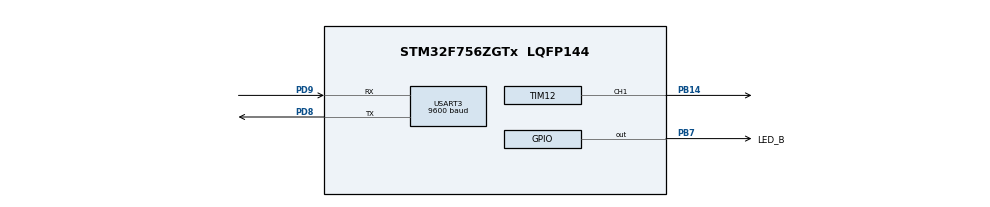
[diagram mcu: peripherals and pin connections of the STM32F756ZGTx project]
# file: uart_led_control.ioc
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Mcu.Family=STM32F7
Mcu.Name=STM32F756ZGTx
Mcu.Package=LQFP144
NVIC.PriorityGroup=NVIC_PRIORITYGROUP_4
NVIC.TIM3_IRQn=true\:0\:0\:false\:false\:true\:true\:true\:true
PB14.Signal=S_TIM12_CH1
PB7.GPIO_Label=LED_B
PB7.Signal=GPIO_Output
PD8.Mode=Asynchronous
PD8.Signal=USART3_TX
PD9.Mode=Asynchronous
PD9.Signal=USART3_RX
ProjectManager.HeapSize=0x200
ProjectManager.StackSize=0x400
ProjectManager.TargetToolchain=STM32CubeIDE
RCC.HSE_VALUE=25000000
RCC.HSI_VALUE=16000000
RCC.LSE_VALUE=32768
RCC.USBFreq_Value=96000000
RCC.VCOOutputFreq_Value=192000000
SH.S_TIM12_CH1.0=TIM12_CH1,PWM Generation1 CH1
TIM12.Channel-PWM\ Generation1\ CH1=TIM_CHANNEL_1
TIM12.Period=100
TIM12.Prescaler=10
TIM12.Pulse-PWM\ Generation1\ CH1=5
TIM3.Period=1000-1
TIM3.Prescaler=16000-1
USART3.BaudRate=9600
USART3.VirtualMode-Asynchronous=VM_ASYNC
VP_TIM12_VS_ClockSourceINT.Mode=Internal
VP_TIM3_VS_ClockSourceINT.Mode=Internal
board=custom

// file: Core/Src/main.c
/* USER CODE BEGIN Header */
/**
  ******************************************************************************
  * @file           : main.c
  * @brief          : Main program body
  ******************************************************************************
  * @attention
  *
  * Copyright (c) 2023 STMicroelectronics.
  * All rights reserved.
  *
  * This software is licensed under terms that can be found in the LICENSE file
  * in the root directory of this software component.
  * If no LICENSE file comes with this software, it is provided AS-IS.
  *
  ******************************************************************************
  */
/* USER CODE END Header */
#include "main.h"

TIM_HandleTypeDef htim3;
TIM_HandleTypeDef htim12;

UART_HandleTypeDef huart3;

void SystemClock_Config(void);
static void MX_GPIO_Init(void);
static void MX_TIM3_Init(void);
static void MX_USART3_UART_Init(void);
static void MX_TIM12_Init(void);
/* USER CODE BEGIN PFP */
void HAL_TIM_PeriodElapsedCallback(TIM_HandleTypeDef *htim)
{
  //ISR
	HAL_GPIO_TogglePin(LED_B_GPIO_Port, LED_B_Pin);
}
/* USER CODE END PFP */

int main(void)
{
  /* USER CODE BEGIN 1 */
	uint8_t menu[4][10]={
							"ON: O\n\r",
							"OFF: X\n\r",
							"20%: 2\n\r",
							"70%: 7\n\r"
						};
	uint8_t c=0;
  /* USER CODE END 1 */

  /* MCU Configuration--------------------------------------------------------*/

  /* Reset of all peripherals, Initializes the Flash interface and the Systick. */
  HAL_Init();

  /* Configure the system clock */
  SystemClock_Config();

  /* Initialize all configured peripherals */
  MX_GPIO_Init();
  MX_TIM3_Init();
  MX_USART3_UART_Init();
  MX_TIM12_Init();
  /* USER CODE BEGIN 2 */

  HAL_UART_Transmit(&huart3, menu, sizeof(menu), 100);
 // HAL_TIM_PWM_Start(&htim12, TIM_CHANNEL_1);
  /* USER CODE END 2 */

  /* Infinite loop */
  /* USER CODE BEGIN WHILE */
  while (1)
  {
	  if(HAL_UART_Receive(&huart3, &c, 1, 10)==HAL_OK)
	  {
		  switch (c) {
			case 'O':
				//ENABLE LED BLINKING - NO PWM
				HAL_TIM_PWM_Stop(&htim12, TIM_CHANNEL_1);
				HAL_TIM_Base_Start_IT(&htim3);
				break;
			case 'X':
				//DISABLE LED BLINKING - NO PWM - LEDS OFF
				HAL_TIM_PWM_Stop(&htim12, TIM_CHANNEL_1);
				HAL_TIM_Base_Stop_IT(&htim3);
				HAL_GPIO_WritePin(LED_B_GPIO_Port, LED_B_Pin, 0); //off
				break;
			case '2':
				//SET 20% duty cycle PWM - NO BLINKING
				HAL_TIM_Base_Stop_IT(&htim3);
				HAL_TIM_PWM_Start(&htim12, TIM_CHANNEL_1);
				__HAL_TIM_SET_COMPARE(&htim12, TIM_CHANNEL_1, 20);
				break;
			case '7':
				//SET 70% duty cycle PWM - NO BLINKING
				HAL_TIM_Base_Stop_IT(&htim3);
				HAL_TIM_PWM_Start(&htim12, TIM_CHANNEL_1);
				__HAL_TIM_SET_COMPARE(&htim12, TIM_CHANNEL_1, 70);
				break;
			default:
				break;
		}
		  HAL_UART_Transmit(&huart3, &c, 1, 10);
	  }
	  //HAL_GPIO_TogglePin(LED_B_GPIO_Port, LED_B_Pin);
	  //HAL_Delay(1000);
    /* USER CODE END WHILE */

  }
}

void SystemClock_Config(void)
{
  RCC_OscInitTypeDef RCC_OscInitStruct = {0};
  RCC_ClkInitTypeDef RCC_ClkInitStruct = {0};

  /** Configure the main internal regulator output voltage
  */
  __HAL_RCC_PWR_CLK_ENABLE();
  __HAL_PWR_VOLTAGESCALING_CONFIG(PWR_REGULATOR_VOLTAGE_SCALE3);

  /** Initializes the RCC Oscillators according to the specified parameters
  * in the RCC_OscInitTypeDef structure.
  */
  RCC_OscInitStruct.OscillatorType = RCC_OSCILLATORTYPE_HSI;
  RCC_OscInitStruct.HSIState = RCC_HSI_ON;
  RCC_OscInitStruct.HSICalibrationValue = RCC_HSICALIBRATION_DEFAULT;
  RCC_OscInitStruct.PLL.PLLState = RCC_PLL_NONE;
  if (HAL_RCC_OscConfig(&RCC_OscInitStruct) != HAL_OK)
  {
    Error_Handler();
  }

  /** Initializes the CPU, AHB and APB buses clocks
  */
  RCC_ClkInitStruct.ClockType = RCC_CLOCKTYPE_HCLK|RCC_CLOCKTYPE_SYSCLK
                              |RCC_CLOCKTYPE_PCLK1|RCC_CLOCKTYPE_PCLK2;
  RCC_ClkInitStruct.SYSCLKSource = RCC_SYSCLKSOURCE_HSI;
  RCC_ClkInitStruct.AHBCLKDivider = RCC_SYSCLK_DIV1;
  RCC_ClkInitStruct.APB1CLKDivider = RCC_HCLK_DIV1;
  RCC_ClkInitStruct.APB2CLKDivider = RCC_HCLK_DIV1;

  if (HAL_RCC_ClockConfig(&RCC_ClkInitStruct, FLASH_LATENCY_0) != HAL_OK)
  {
    Error_Handler();
  }
}

static void MX_TIM3_Init(void)
{

  TIM_ClockConfigTypeDef sClockSourceConfig = {0};
  TIM_MasterConfigTypeDef sMasterConfig = {0};

  htim3.Instance = TIM3;
  htim3.Init.Prescaler = 16000-1;
  htim3.Init.CounterMode = TIM_COUNTERMODE_UP;
  htim3.Init.Period = 1000-1;
  htim3.Init.ClockDivision = TIM_CLOCKDIVISION_DIV1;
  htim3.Init.AutoReloadPreload = TIM_AUTORELOAD_PRELOAD_DISABLE;
  if (HAL_TIM_Base_Init(&htim3) != HAL_OK)
  {
    Error_Handler();
  }
  sClockSourceConfig.ClockSource = TIM_CLOCKSOURCE_INTERNAL;
  if (HAL_TIM_ConfigClockSource(&htim3, &sClockSourceConfig) != HAL_OK)
  {
    Error_Handler();
  }
  sMasterConfig.MasterOutputTrigger = TIM_TRGO_RESET;
  sMasterConfig.MasterSlaveMode = TIM_MASTERSLAVEMODE_DISABLE;
  if (HAL_TIMEx_MasterConfigSynchronization(&htim3, &sMasterConfig) != HAL_OK)
  {
    Error_Handler();
  }

}

static void MX_TIM12_Init(void)
{

  TIM_ClockConfigTypeDef sClockSourceConfig = {0};
  TIM_OC_InitTypeDef sConfigOC = {0};

  htim12.Instance = TIM12;
  htim12.Init.Prescaler = 10;
  htim12.Init.CounterMode = TIM_COUNTERMODE_UP;
  htim12.Init.Period = 100;
  htim12.Init.ClockDivision = TIM_CLOCKDIVISION_DIV1;
  htim12.Init.AutoReloadPreload = TIM_AUTORELOAD_PRELOAD_DISABLE;
  if (HAL_TIM_Base_Init(&htim12) != HAL_OK)
  {
    Error_Handler();
  }
  sClockSourceConfig.ClockSource = TIM_CLOCKSOURCE_INTERNAL;
  if (HAL_TIM_ConfigClockSource(&htim12, &sClockSourceConfig) != HAL_OK)
  {
    Error_Handler();
  }
  if (HAL_TIM_PWM_Init(&htim12) != HAL_OK)
  {
    Error_Handler();
  }
  sConfigOC.OCMode = TIM_OCMODE_PWM1;
  sConfigOC.Pulse = 5;
  sConfigOC.OCPolarity = TIM_OCPOLARITY_HIGH;
  sConfigOC.OCFastMode = TIM_OCFAST_DISABLE;
  if (HAL_TIM_PWM_ConfigChannel(&htim12, &sConfigOC, TIM_CHANNEL_1) != HAL_OK)
  {
    Error_Handler();
  }
  HAL_TIM_MspPostInit(&htim12);

}

static void MX_USART3_UART_Init(void)
{

  huart3.Instance = USART3;
  huart3.Init.BaudRate = 9600;
  huart3.Init.WordLength = UART_WORDLENGTH_8B;
  huart3.Init.StopBits = UART_STOPBITS_1;
  huart3.Init.Parity = UART_PARITY_NONE;
  huart3.Init.Mode = UART_MODE_TX_RX;
  huart3.Init.HwFlowCtl = UART_HWCONTROL_NONE;
  huart3.Init.OverSampling = UART_OVERSAMPLING_16;
  huart3.Init.OneBitSampling = UART_ONE_BIT_SAMPLE_DISABLE;
  huart3.AdvancedInit.AdvFeatureInit = UART_ADVFEATURE_NO_INIT;
  if (HAL_UART_Init(&huart3) != HAL_OK)
  {
    Error_Handler();
  }

}

static void MX_GPIO_Init(void)
{
  GPIO_InitTypeDef GPIO_InitStruct = {0};

  /* GPIO Ports Clock Enable */
  __HAL_RCC_GPIOB_CLK_ENABLE();
  __HAL_RCC_GPIOD_CLK_ENABLE();

  /*Configure GPIO pin Output Level */
  HAL_GPIO_WritePin(LED_B_GPIO_Port, LED_B_Pin, GPIO_PIN_RESET);

  /*Configure GPIO pin : LED_B_Pin */
  GPIO_InitStruct.Pin = LED_B_Pin;
  GPIO_InitStruct.Mode = GPIO_MODE_OUTPUT_PP;
  GPIO_InitStruct.Pull = GPIO_NOPULL;
  GPIO_InitStruct.Speed = GPIO_SPEED_FREQ_LOW;
  HAL_GPIO_Init(LED_B_GPIO_Port, &GPIO_InitStruct);

}

void Error_Handler(void)
{
  __disable_irq();
  while (1)
  {
  }
}
